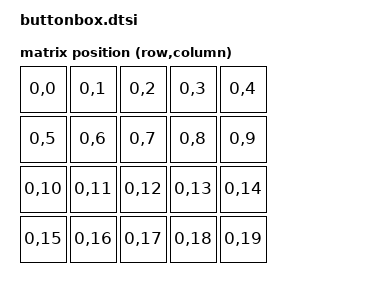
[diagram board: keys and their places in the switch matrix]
#include "buttonbox-layouts.dtsi"
#include <dt-bindings/zmk/matrix_transform.h>

/ {
    matrix_transform0: matrix_transform0 {
        compatible = "zmk,matrix-transform";
        columns = <20>;
        rows = <1>;
        map = <
            RC(0,0) RC(0,1) RC(0,2) RC(0,3) RC(0,4)
            RC(0,5) RC(0,6) RC(0,7) RC(0,8) RC(0,9)
            RC(0,10) RC(0,11) RC(0,12) RC(0,13) RC(0,14)
            RC(0,15) RC(0,16) RC(0,17) RC(0,18) RC(0,19)
        >;
    };
};

&physical_layout_buttonbox {
    transform = <&matrix_transform0>;
};

